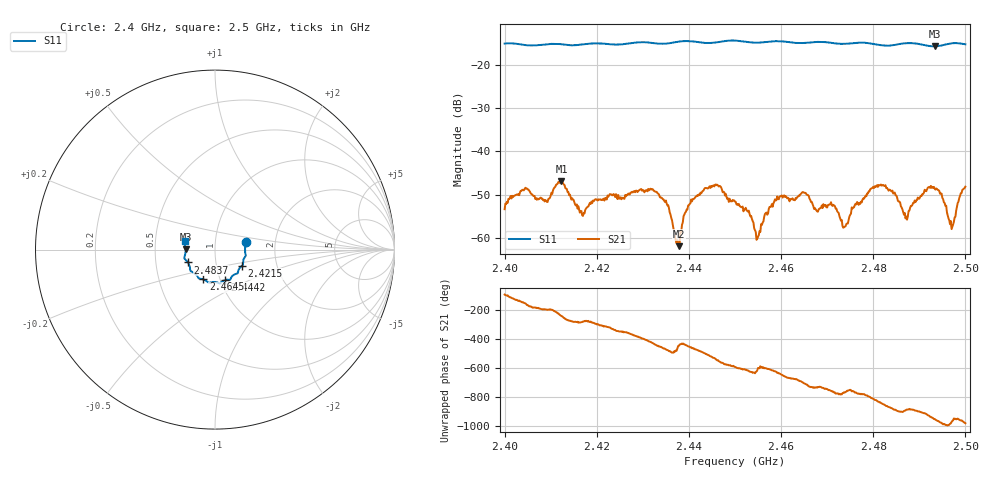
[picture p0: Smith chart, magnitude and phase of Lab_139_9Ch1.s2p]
# Hz S RI R 50
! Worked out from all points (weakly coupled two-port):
!   601 points, 2.4 GHz to 2.5 GHz, reference 50 ohm
!   highest |S21| = -46.92 dB at 2.4123 GHz (marker M1); lowest = -61.9 dB at 2.4378 GHz (marker M2)
!   lowest |S11| = -15.7 dB at 2.4933 GHz (marker M3), VSWR 1.39, Z = 36 + j0.0968 ohm
!   |S11| at or under -10 dB: start of sweep to end of sweep
!   S12 and S22 are empty: the file has one direction only
!   S11 on the Smith chart (normalised r, x): 2.4 GHz: 1.41, +0.12; 2.4215 GHz: 1.33, -0.25; 2.4442 GHz: 1.05, -0.37; 2.4645 GHz: 0.83, -0.29; 2.4837 GHz: 0.73, -0.11; 2.5 GHz: 0.71, +0.07
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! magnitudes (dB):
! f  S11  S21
! 2.4 GHz  -15.1  -53.3
! 2.4123 GHz  -15.2  -46.9
! 2.4167 GHz  -15.3  -53.8
! 2.4215 GHz  -15.1  -50.9
! 2.4333 GHz  -15.1  -49.8
! 2.4378 GHz  -14.6  -61.9
! 2.44 GHz  -14.5  -52.4
! 2.4442 GHz  -15.0  -48.5
! 2.45 GHz  -14.4  -51.6
! 2.455 GHz  -14.9  -59.7
! 2.4588 GHz  -14.5  -51.3
! 2.4645 GHz  -15.0  -49.5
! 2.4667 GHz  -14.8  -51.6
! 2.4712 GHz  -15.0  -52.6
! 2.4738 GHz  -15.1  -57.4
! 2.4795 GHz  -15.1  -48.6
! 2.4833 GHz  -15.6  -49.1
! 2.4837 GHz  -15.5  -48.9
! 2.487 GHz  -15.0  -55.5
! 2.4933 GHz  -15.7  -48.6
! 2.497 GHz  -15.0  -57.9
! 2.5 GHz  -15.2  -48.1
